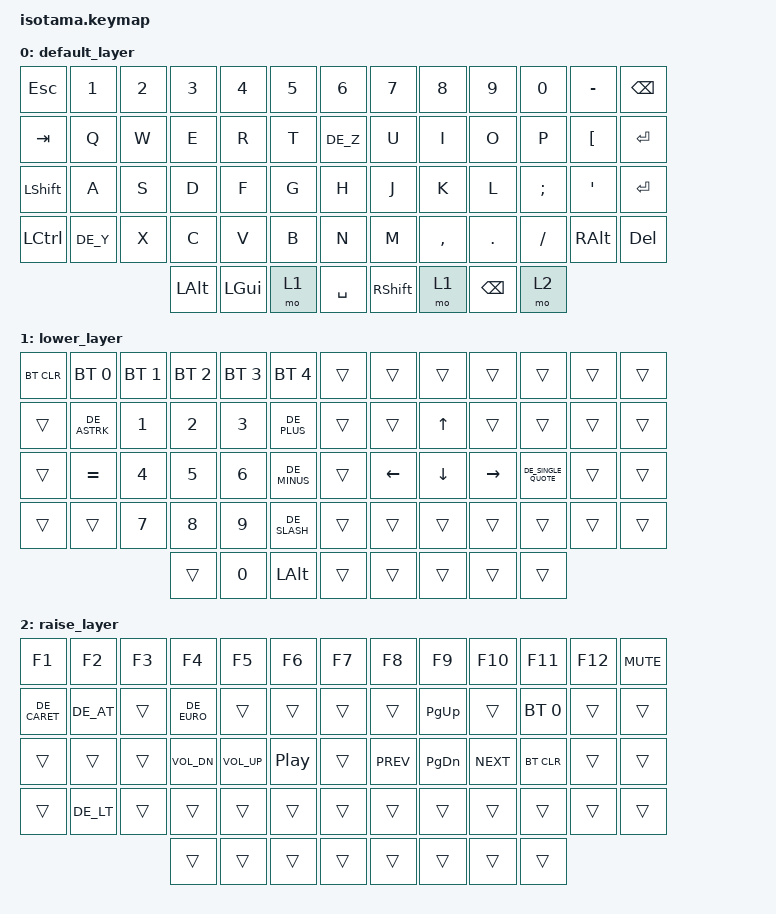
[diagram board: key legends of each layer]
/*
 * Copyright (c) 2020 The ZMK Contributors
 *
 * SPDX-License-Identifier: MIT
 */

#include <behaviors.dtsi>
#include <dt-bindings/zmk/keys.h>
#include <dt-bindings/zmk/bt.h>
#include <dt-bindings/zmk/ext_power.h>
#include "keys_de.h"	

/ {
    keymap {
        compatible = "zmk,keymap";

        default_layer {
// --------------------------------------------------------------------------------------------------------------------
// |  ESC  |  1  |  2  |  3   |  4   |  5   |                   |  6   |  7    |  8    |  9   |   0   |  ß-S  | BSPC  |
// |  TAB  |  Q  |  W  |  E   |  R   |  T   |                   |  Z   |  U    |  I    |  O   |   P   |   Ü   | ENTER |
// | SHIFT |  A  |  S  |  D   |  F   |  G   |                   |  H   |  J    |  K    |  L   |   Ö   |   Ä   | ENTER |
// |  CTRl |  Y  |  X  |  C   |  V   |  B   |                   |  N   |  M    |  ,    |  .   |   -   | SHIFT |  DEL  |
//                     | ALT  | GUI  | LOWER|  SPACE |  | SHIFT | LOWER| BSPC  | UPPER |
            bindings = <
&kp ESC   &kp N1    &kp N2 &kp N3   &kp N4   &kp N5                       &kp N6    &kp N7   &kp N8    &kp N9  &kp N0    &kp MINUS &kp BSPC
&kp TAB   &kp Q     &kp W  &kp E    &kp R    &kp T                        &kp DE_Z  &kp U    &kp I     &kp O   &kp P     &kp LBKT  &kp RET
&kp LSHFT &kp A     &kp S  &kp D    &kp F    &kp G                        &kp H     &kp J    &kp K     &kp L   &kp SEMI  &kp APOS  &kp RET
&kp LCTRL &kp DE_Y  &kp X  &kp C    &kp V    &kp B                        &kp N     &kp M    &kp COMMA &kp DOT &kp SLASH &kp RALT  &kp DELETE 
                           &kp LALT &kp LGUI &mo 1  &kp SPACE  &kp RSHFT  &mo 1     &kp BSPC &mo 2 
            >;
        };

        lower_layer {
// --------------------------------------------------------------------------------------------------------------------
// | BTCLR | BT1 | BT2 |  BT3 |  BT4 |  BT5 |                   |      |       |       |      |       |       |       |
// |       |     |  1  |  2   |   3  |   +  |                   |      |       |  ^    |      |       |       |       |
// |       |     |  4  |  5   |   6  |   -  |                   |      |  <-   |  v    |  ->  |       |       |       |
// |       |     |  7  |  8   |   9  |   /  |                   |      |       |       |      |       |       |       |
//                     |  0   |   *  |      |        |  |       |      |       |       |
            bindings = <
&bt BT_CLR &bt BT_SEL 0  &bt BT_SEL 1  &bt BT_SEL 2   &bt BT_SEL 3 &bt BT_SEL 4                    &trans    &trans    &trans    &trans    &trans               &trans   &trans
&trans     &kp DE_ASTRK  &kp N1        &kp N2         &kp N3       &kp DE_PLUS                     &trans    &trans    &kp UP    &trans    &trans               &trans   &trans
&trans     &kp EQUAL     &kp N4        &kp N5         &kp N6       &kp DE_MINUS                    &trans    &kp LEFT  &kp DOWN  &kp RIGHT &kp DE_SINGLE_QUOTE  &trans   &trans
&trans     &trans        &kp N7        &kp N8         &kp N9       &kp DE_SLASH                    &trans    &trans    &trans    &trans    &trans               &trans   &trans
                                       &trans         &kp N0       &kp LEFT_ALT  &trans  &trans    &trans    &trans    &trans
            >;
        };

        raise_layer {
// --------------------------------------------------------------------------------------------------------------------
// |  F1   | F2  |  F3 |  F4  |  F5  |  F6  |                   |  F7  |  F8   |   F9  |  F10 |  F11  |  F12  |       |
// |   ^   |  @  |     |  €   |      |      |                   |      |       | pgup  |      |       |       |       |
// |       |     |     |leiser|lauter| play |                   |      | next  | pgdwn | prev |       |       |       |
// |       |  <  |     |      |      |      |                   |      |       |       |      |       |       |       |
//                     |      |      |      |        |  |       |      |       |       |
            bindings = <
&kp F1       &kp F2       &kp F3  &kp F4       &kp F5       &kp F6                     &kp F7    &kp F8     &kp F9    &kp F10     &kp F11      &kp F12   &kp C_MUTE
&kp DE_CARET &kp DE_AT    &trans  &kp DE_EURO  &trans       &trans                     &trans    &trans     &kp PG_UP &trans      &bt BT_SEL 0 &trans    &trans
&trans       &trans       &trans  &kp C_VOL_DN &kp C_VOL_UP &kp C_PP                   &trans    &kp C_PREV &kp PG_DN &kp C_NEXT  &bt BT_CLR   &trans    &trans
&trans       &kp DE_LT    &trans  &trans       &trans       &trans                     &trans    &trans     &trans    &trans      &trans       &trans    &trans
                                  &trans       &trans       &trans    &trans &trans    &trans    &trans     &trans
            >; 
        };
    };
};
